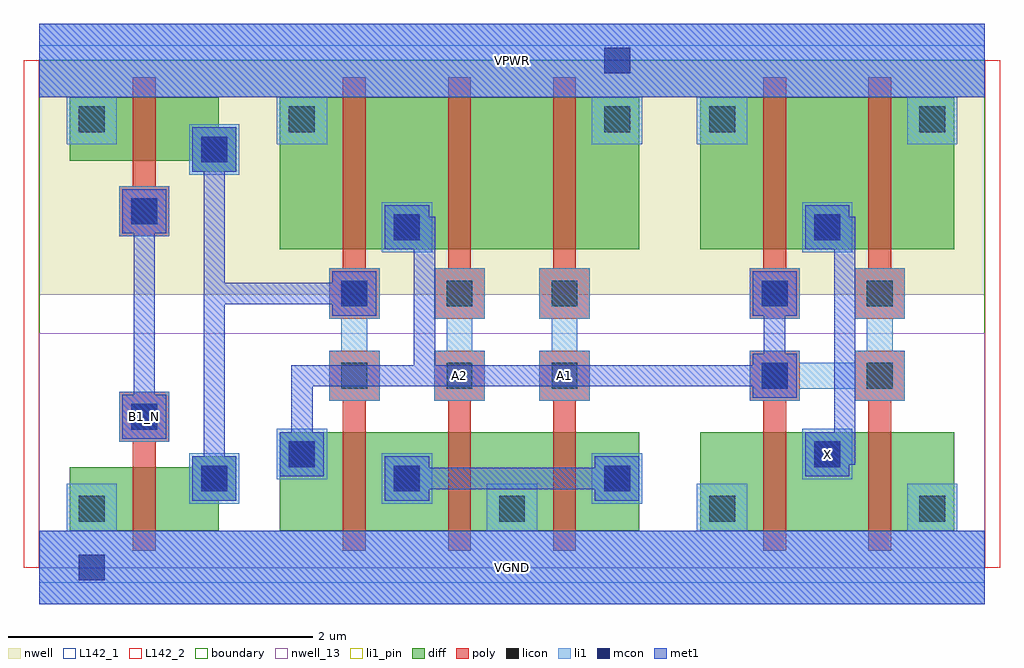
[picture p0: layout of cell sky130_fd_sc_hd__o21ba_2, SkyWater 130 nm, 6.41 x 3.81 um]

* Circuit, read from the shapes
.subckt sky130_fd_sc_hd__o21ba_2 A1 A2 B1_N VGND VPWR X
XM1 n1 B1_N VGND VSUBS sky130_fd_pr__nfet_01v8 w=0.42 l=0.15
XM2 n2 n1 n3 VSUBS sky130_fd_pr__nfet_01v8 w=0.65 l=0.15
XM3 VGND A2 n2 VSUBS sky130_fd_pr__nfet_01v8 w=0.65 l=0.15
XM4 n2 A1 VGND VSUBS sky130_fd_pr__nfet_01v8 w=0.65 l=0.15
XM5 X n3 VGND VSUBS sky130_fd_pr__nfet_01v8 w=0.65 l=0.15 m=2
XM6 n1 B1_N VPWR n4 sky130_fd_pr__pfet_01v8 w=0.42 l=0.15
XM7 n3 n1 VPWR n4 sky130_fd_pr__pfet_01v8 w=1 l=0.15
XM8 n5 A2 n3 n4 sky130_fd_pr__pfet_01v8 w=1 l=0.15
XM9 VPWR A1 n5 n4 sky130_fd_pr__pfet_01v8 w=1 l=0.15
XM10 X n3 VPWR n4 sky130_fd_pr__pfet_01v8 w=1 l=0.15 m=2
.ends

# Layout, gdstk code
import gdstk
lib = gdstk.Library(unit=1e-6, precision=1e-09)
def R(c, l, rs):  # rectangles x0, y0, x1, y1
    for r in rs: c.add(gdstk.rectangle(r[:2], r[2:], *l))
def A(c, l, x, y, w, h, nx, ny, dx, dy):  # array of equal rectangles
    R(c, l, [(x+i*dx, y+j*dy, x+i*dx+w, y+j*dy+h) for i in range(nx) for j in range(ny)])
def P(c, l, *ps):  # polygons
    for p in ps: c.add(gdstk.Polygon(p, *l))
nwell_13 = (64, 13)
nwell = (64, 20)
diff = (65, 20)
poly = (66, 20)
licon = (66, 44)
li1_pin = (67, 16)
li1 = (67, 20)
mcon = (67, 44)
met1 = (68, 20)
L142_1 = (142, 1)
L142_2 = (142, 2)
boundary = (235, 4)

sky130_fd_sc_hd__o21ba_2 = lib.new_cell('sky130_fd_sc_hd__o21ba_2')
R(sky130_fd_sc_hd__o21ba_2, nwell_13, [(0,0,6.21,1.54)])
R(sky130_fd_sc_hd__o21ba_2, nwell, [(0,1.79,6.21,3.33)])
R(sky130_fd_sc_hd__o21ba_2, diff, [(0.2,0.24,1.18,0.66), (0.2,0.24,0.615,0.66), (1.58,0.24,3.94,0.89), (1.58,0.24,1.995,0.89), (1.995,0.24,2.685,0.89), (2.685,0.24,3.375,0.89), (3.375,0.24,3.94,0.89), (4.34,0.24,6.01,0.89), (4.34,0.24,4.755,0.89), (4.755,0.24,5.445,0.89), (5.445,0.24,6.01,0.89), (1.58,2.09,3.94,3.09), (1.58,2.09,1.995,3.09), (1.995,2.09,2.685,3.09), (2.685,2.09,3.375,3.09), (3.375,2.09,3.94,3.09), (4.34,2.09,6.01,3.09), (4.34,2.09,4.755,3.09), (4.755,2.09,5.445,3.09), (5.445,2.09,6.01,3.09), (0.2,2.67,1.18,3.09), (0.2,2.67,0.615,3.09)])
P(sky130_fd_sc_hd__o21ba_2, diff, [(0.615,0.24),(0.615,0.66),(1.005,0.66),(1.005,0.73),(1.295,0.73),(1.295,0.44),(1.18,0.44),(1.18,0.24)],
  [(1.005,2.6),(1.005,2.67),(0.615,2.67),(0.615,3.09),(1.18,3.09),(1.18,2.89),(1.295,2.89),(1.295,2.6)])
P(sky130_fd_sc_hd__o21ba_2, poly, [(4.755,0.11),(4.755,1.095),(4.665,1.095),(4.665,1.425),(4.995,1.425),(4.995,1.095),(4.905,1.095),(4.905,0.11)],
  [(5.445,0.11),(5.445,1.095),(5.355,1.095),(5.355,1.425),(5.685,1.425),(5.685,1.095),(5.595,1.095),(5.595,0.11)],
  [(4.665,1.635),(4.665,1.965),(4.755,1.965),(4.755,3.22),(4.905,3.22),(4.905,1.965),(4.995,1.965),(4.995,1.635)],
  [(5.355,1.635),(5.355,1.965),(5.445,1.965),(5.445,3.22),(5.595,3.22),(5.595,1.965),(5.685,1.965),(5.685,1.635)],
  [(0.615,0.11),(0.615,0.825),(0.525,0.825),(0.525,1.155),(0.855,1.155),(0.855,0.825),(0.765,0.825),(0.765,0.11)],
  [(0.525,2.175),(0.525,2.505),(0.615,2.505),(0.615,3.22),(0.765,3.22),(0.765,2.505),(0.855,2.505),(0.855,2.175)],
  [(2.685,0.11),(2.685,1.095),(2.595,1.095),(2.595,1.425),(2.925,1.425),(2.925,1.095),(2.835,1.095),(2.835,0.11)],
  [(2.595,1.635),(2.595,1.965),(2.685,1.965),(2.685,3.22),(2.835,3.22),(2.835,1.965),(2.925,1.965),(2.925,1.635)],
  [(3.375,0.11),(3.375,1.095),(3.285,1.095),(3.285,1.425),(3.615,1.425),(3.615,1.095),(3.525,1.095),(3.525,0.11)],
  [(3.285,1.635),(3.285,1.965),(3.375,1.965),(3.375,3.22),(3.525,3.22),(3.525,1.965),(3.615,1.965),(3.615,1.635)],
  [(1.995,0.11),(1.995,1.095),(1.905,1.095),(1.905,1.425),(2.235,1.425),(2.235,1.095),(2.145,1.095),(2.145,0.11)],
  [(1.905,1.635),(1.905,1.965),(1.995,1.965),(1.995,3.22),(2.145,3.22),(2.145,1.965),(2.235,1.965),(2.235,1.635)])
A(sky130_fd_sc_hd__o21ba_2, licon, 3.02, 0.3, 0.17, 0.17, 3, 1, 1.38, 0)
A(sky130_fd_sc_hd__o21ba_2, licon, 1.985, 1.175, 0.17, 0.17, 3, 2, 0.69, 0.54)
R(sky130_fd_sc_hd__o21ba_2, licon, [(0.26,0.3,0.43,0.47), (1.065,0.5,1.235,0.67), (2.33,0.5,2.5,0.67), (3.71,0.5,3.88,0.67), (1.64,0.66,1.81,0.83), (5.09,0.66,5.26,0.83), (0.605,0.905,0.775,1.075), (4.745,1.175,4.915,1.345), (5.435,1.175,5.605,1.345), (4.745,1.715,4.915,1.885), (5.435,1.715,5.605,1.885), (2.33,2.15,2.5,2.32), (5.09,2.15,5.26,2.32), (0.605,2.255,0.775,2.425), (1.065,2.66,1.235,2.83), (0.26,2.86,0.43,3.03), (1.64,2.86,1.81,3.03), (3.71,2.86,3.88,3.03), (4.4,2.86,4.57,3.03), (5.78,2.86,5.95,3.03)])
R(sky130_fd_sc_hd__o21ba_2, li1_pin, [(0,-0.24,6.21,0.24), (5.01,0.58,5.34,0.91), (0.525,0.825,0.855,1.155), (0,3.09,6.21,3.57)])
P(sky130_fd_sc_hd__o21ba_2, li1_pin, [(3.285,1.095),(3.285,1.425),(3.365,1.425),(3.365,1.635),(3.285,1.635),(3.285,1.965),(3.615,1.965),(3.615,1.635),(3.535,1.635),(3.535,1.425),(3.615,1.425),(3.615,1.095)],
  [(2.595,1.095),(2.595,1.425),(2.675,1.425),(2.675,1.635),(2.595,1.635),(2.595,1.965),(2.925,1.965),(2.925,1.635),(2.845,1.635),(2.845,1.425),(2.925,1.425),(2.925,1.095)])
R(sky130_fd_sc_hd__o21ba_2, li1, [(0.985,0.42,1.315,0.75), (2.25,0.42,2.58,0.75), (3.63,0.42,3.96,0.75), (1.56,0.58,1.89,0.91), (5.01,0.58,5.34,0.91), (0.525,0.825,0.855,1.155), (4.665,1.635,4.995,1.965), (2.25,2.07,2.58,2.4), (5.01,2.07,5.34,2.4), (0.525,2.175,0.855,2.505), (0.985,2.58,1.315,2.91)])
P(sky130_fd_sc_hd__o21ba_2, li1, [(4.665,1.095),(4.665,1.425),(4.995,1.425),(4.995,1.345),(5.355,1.345),(5.355,1.425),(5.435,1.425),(5.435,1.635),(5.355,1.635),(5.355,1.965),(5.685,1.965),(5.685,1.635),(5.605,1.635),(5.605,1.425),(5.685,1.425),(5.685,1.095),(5.355,1.095),(5.355,1.175),(4.995,1.175),(4.995,1.095)],
  [(2.595,1.095),(2.595,1.425),(2.675,1.425),(2.675,1.635),(2.595,1.635),(2.595,1.965),(2.925,1.965),(2.925,1.635),(2.845,1.635),(2.845,1.425),(2.925,1.425),(2.925,1.095)],
  [(0.18,2.78),(0.18,3.09),(0,3.09),(0,3.57),(6.21,3.57),(6.21,3.09),(6.03,3.09),(6.03,2.78),(5.7,2.78),(5.7,3.09),(4.65,3.09),(4.65,2.78),(4.32,2.78),(4.32,3.09),(3.96,3.09),(3.96,2.78),(3.63,2.78),(3.63,3.09),(1.89,3.09),(1.89,2.78),(1.56,2.78),(1.56,3.09),(0.51,3.09),(0.51,2.78)],
  [(3.285,1.095),(3.285,1.425),(3.365,1.425),(3.365,1.635),(3.285,1.635),(3.285,1.965),(3.615,1.965),(3.615,1.635),(3.535,1.635),(3.535,1.425),(3.615,1.425),(3.615,1.095)],
  [(0,-0.24),(0,0.24),(0.18,0.24),(0.18,0.55),(0.51,0.55),(0.51,0.24),(2.94,0.24),(2.94,0.55),(3.27,0.55),(3.27,0.24),(4.32,0.24),(4.32,0.55),(4.65,0.55),(4.65,0.24),(5.7,0.24),(5.7,0.55),(6.03,0.55),(6.03,0.24),(6.21,0.24),(6.21,-0.24)],
  [(1.905,1.095),(1.905,1.425),(1.985,1.425),(1.985,1.635),(1.905,1.635),(1.905,1.965),(2.235,1.965),(2.235,1.635),(2.155,1.635),(2.155,1.425),(2.235,1.425),(2.235,1.095)])
R(sky130_fd_sc_hd__o21ba_2, mcon, [(0.26,-0.085,0.43,0.085), (1.065,0.5,1.235,0.67), (2.33,0.5,2.5,0.67), (3.71,0.5,3.88,0.67), (1.64,0.66,1.81,0.83), (5.09,0.66,5.26,0.83), (0.605,0.905,0.775,1.075), (4.745,1.175,4.915,1.345), (1.985,1.715,2.155,1.885), (4.745,1.715,4.915,1.885), (2.33,2.15,2.5,2.32), (5.09,2.15,5.26,2.32), (0.605,2.255,0.775,2.425), (1.065,2.66,1.235,2.83), (3.71,3.245,3.88,3.415)])
R(sky130_fd_sc_hd__o21ba_2, met1, [(0,-0.24,6.21,0.24), (0,3.09,6.21,3.57)])
P(sky130_fd_sc_hd__o21ba_2, met1, [(1.58,0.6),(1.58,0.89),(1.655,0.89),(1.655,1.33),(2.46,1.33),(2.46,2.09),(2.27,2.09),(2.27,2.38),(2.56,2.38),(2.56,2.305),(2.6,2.305),(2.6,1.33),(4.685,1.33),(4.685,1.405),(4.76,1.405),(4.76,1.655),(4.685,1.655),(4.685,1.945),(4.975,1.945),(4.975,1.655),(4.9,1.655),(4.9,1.405),(4.975,1.405),(4.975,1.115),(4.685,1.115),(4.685,1.19),(1.795,1.19),(1.795,0.89),(1.87,0.89),(1.87,0.6)],
  [(0.545,0.845),(0.545,1.135),(0.62,1.135),(0.62,2.195),(0.545,2.195),(0.545,2.485),(0.835,2.485),(0.835,2.195),(0.76,2.195),(0.76,1.135),(0.835,1.135),(0.835,0.845)],
  [(2.27,0.44),(2.27,0.73),(2.56,0.73),(2.56,0.655),(3.65,0.655),(3.65,0.73),(3.94,0.73),(3.94,0.44),(3.65,0.44),(3.65,0.515),(2.56,0.515),(2.56,0.44)],
  [(1.005,0.44),(1.005,0.73),(1.08,0.73),(1.08,2.6),(1.005,2.6),(1.005,2.89),(1.295,2.89),(1.295,2.6),(1.22,2.6),(1.22,1.87),(1.925,1.87),(1.925,1.945),(2.215,1.945),(2.215,1.655),(1.925,1.655),(1.925,1.73),(1.22,1.73),(1.22,0.73),(1.295,0.73),(1.295,0.44)],
  [(5.03,0.6),(5.03,0.89),(5.22,0.89),(5.22,2.09),(5.03,2.09),(5.03,2.38),(5.32,2.38),(5.32,2.305),(5.36,2.305),(5.36,0.675),(5.32,0.675),(5.32,0.6)])
R(sky130_fd_sc_hd__o21ba_2, L142_1, [(0,-0.1,6.21,0), (0,3.33,6.21,3.43)])
R(sky130_fd_sc_hd__o21ba_2, L142_2, [(-0.1,0,0,3.33), (6.21,0,6.31,3.33)])
R(sky130_fd_sc_hd__o21ba_2, boundary, [(0,0,6.21,3.33)])
sky130_fd_sc_hd__o21ba_2.add(gdstk.Label('X', (5.175,0.745), layer=67, texttype=5))
sky130_fd_sc_hd__o21ba_2.add(gdstk.Label('B1_N', (0.69,0.99), layer=67, texttype=5))
sky130_fd_sc_hd__o21ba_2.add(gdstk.Label('A1', (3.45,1.26), layer=67, texttype=5))
sky130_fd_sc_hd__o21ba_2.add(gdstk.Label('A2', (2.76,1.26), layer=67, texttype=5))
sky130_fd_sc_hd__o21ba_2.add(gdstk.Label('VGND', (3.105,0), layer=67, texttype=5))
sky130_fd_sc_hd__o21ba_2.add(gdstk.Label('VPWR', (3.105,3.33), layer=67, texttype=5))
sky130_fd_sc_hd__o21ba_2.add(gdstk.Label('VGND', (3.105,0), layer=68, texttype=5))
sky130_fd_sc_hd__o21ba_2.add(gdstk.Label('VPWR', (3.105,3.33), layer=68, texttype=5))

lib.write_gds('sky130_fd_sc_hd__o21ba_2.gds')
